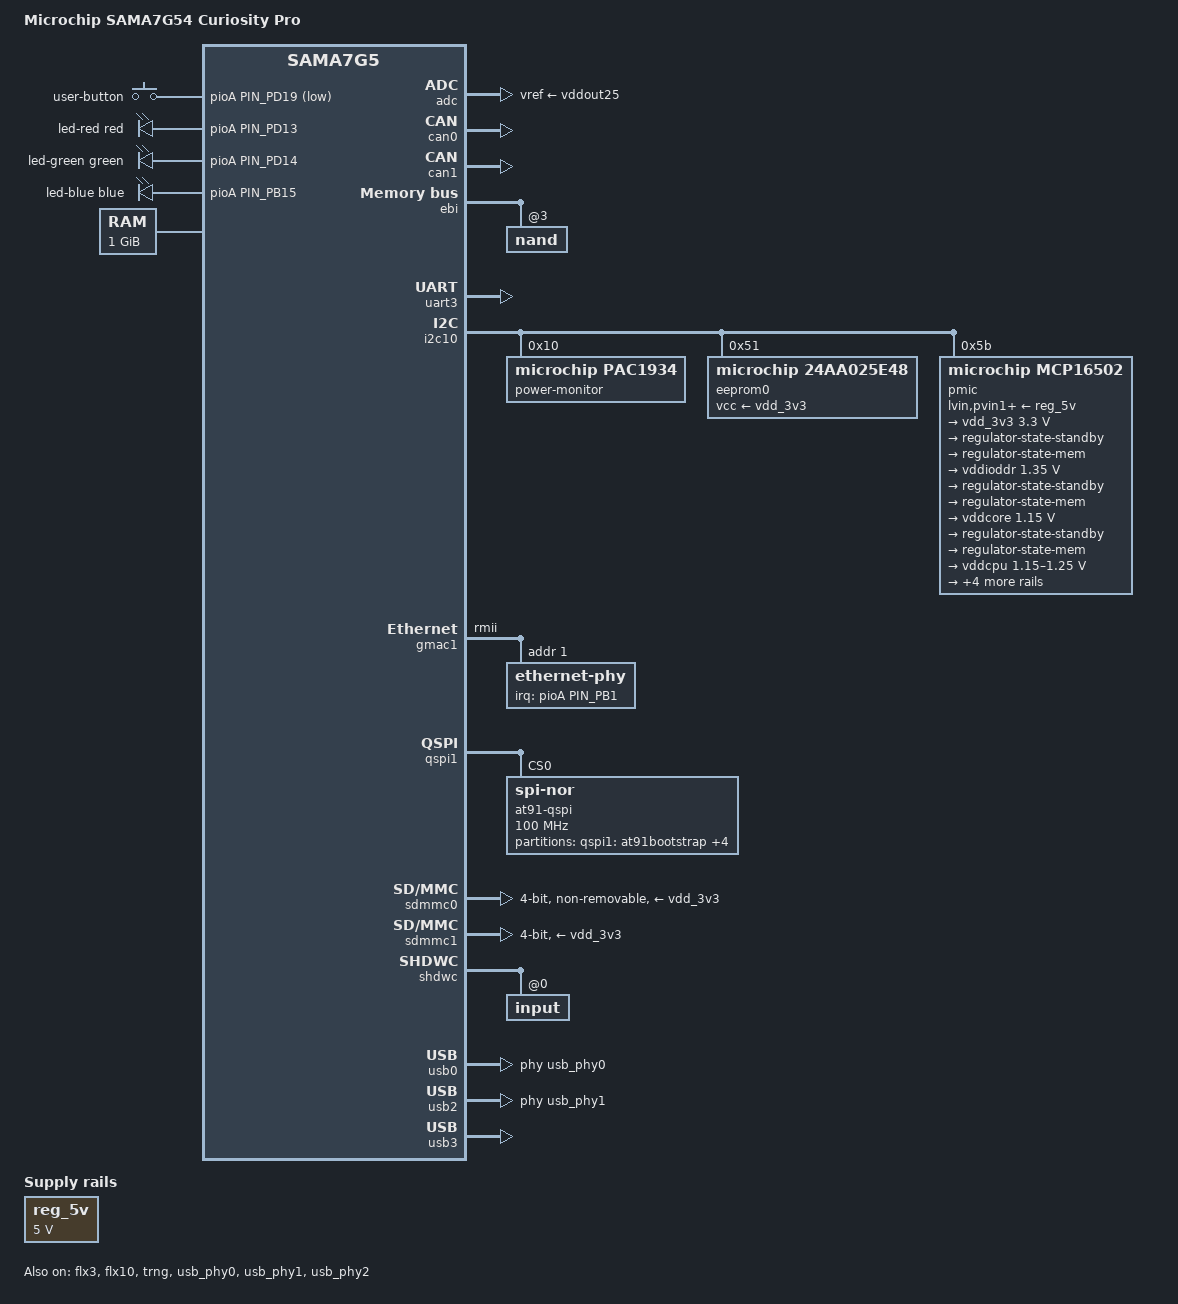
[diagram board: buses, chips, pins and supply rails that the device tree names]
// SPDX-License-Identifier: (GPL-2.0+ OR MIT)
/*
 * at91-sama7g54_curiosity_pro.dts - Device Tree file for Microchip
 * SAMA7G54 Curiosity Pro Board
 *
 * Copyright (C) 2026 Microchip Technology Inc. and its subsidiaries
 *
 * Author: Manikandan Muralidharan <manikandan.m@microchip.com>
 */
/dts-v1/;
#include "sama7g5-pinfunc.h"
#include "sama7g5.dtsi"
#include <dt-bindings/input/input.h>
#include <dt-bindings/leds/common.h>
#include <dt-bindings/mfd/atmel-flexcom.h>
#include <dt-bindings/pinctrl/at91.h>

/ {
	model = "Microchip SAMA7G54 Curiosity Pro";
	compatible = "microchip,sama7g54-curiosity-pro", "microchip,sama7g5", "microchip,sama7";

	aliases {
		serial0 = &uart3;
		i2c0 = &i2c10;
		ethernet0 = &gmac1;
	};

	chosen {
		stdout-path = "serial0:115200n8";
	};

	gpio-keys {
		compatible = "gpio-keys";
		pinctrl-names = "default";
		pinctrl-0 = <&pinctrl_key_gpio_default>;

		button-user {
			label = "user-button";
			gpios = <&pioA PIN_PD19 GPIO_ACTIVE_LOW>;
			linux,code = <KEY_PROG1>;
			wakeup-source;
		};
	};

	leds {
		compatible = "gpio-leds";

		led-red {
			color = <LED_COLOR_ID_RED>;
			function = LED_FUNCTION_POWER;
			gpios = <&pioA PIN_PD13 GPIO_ACTIVE_HIGH>;
			pinctrl-names = "default";
			pinctrl-0 = <&pinctrl_led_red_gpio_default>;
			default-state = "off";
		};

		led-green {
			color = <LED_COLOR_ID_GREEN>;
			function = LED_FUNCTION_BOOT;
			gpios = <&pioA PIN_PD14 GPIO_ACTIVE_HIGH>;
			pinctrl-names = "default";
			pinctrl-0 = <&pinctrl_led_green_gpio_default>;
			default-state = "off";
		};

		led-blue {
			color = <LED_COLOR_ID_BLUE>;
			function = LED_FUNCTION_CPU;
			gpios = <&pioA PIN_PB15 GPIO_ACTIVE_HIGH>;
			pinctrl-names = "default";
			pinctrl-0 = <&pinctrl_led_blue_gpio_default>;
			linux,default-trigger = "heartbeat";
		};
	};

	memory@60000000 {
		device_type = "memory";
		reg = <0x60000000 0x40000000>; /* 1 GiB DDR3L (8 Gb) */
	};

	reg_5v: regulator-5v {
		compatible = "regulator-fixed";
		regulator-name = "5V_MAIN";
		regulator-min-microvolt = <5000000>;
		regulator-max-microvolt = <5000000>;
		regulator-always-on;
	};
};

/* Conflicts with I2S */
&adc {
	vddana-supply = <&vddout25>;
	vref-supply = <&vddout25>;
	pinctrl-names = "default";
	pinctrl-0 = <&pinctrl_mikrobus1_an_default &pinctrl_mikrobus2_an_default>;
	status = "okay";
};

&can0 {
	pinctrl-names = "default";
	pinctrl-0 = <&pinctrl_can0_default>;
	status = "okay";
};

&can1 {
	pinctrl-names = "default";
	pinctrl-0 = <&pinctrl_can1_default>;
	status = "okay";
};

&cpu0 {
	cpu-supply = <&vddcpu>;
};

&dma0 {
	status = "okay";
};

&dma1 {
	status = "okay";
};

&dma2 {
	status = "okay";
};

&ebi {
	pinctrl-names = "default";
	pinctrl-0 = <&pinctrl_nand_default>;
	status = "okay";

	nand_controller: nand-controller {
		status = "okay";

		nand@3 {
			reg = <0x3 0x0 0x800000>;
			atmel,rb = <0>;
			nand-bus-width = <8>;
			nand-ecc-mode = "hw";
			nand-ecc-strength = <8>;
			nand-ecc-step-size = <512>;
			nand-on-flash-bbt;
			label = "nand";
		};
	};
};

&flx3 {
	atmel,flexcom-mode = <ATMEL_FLEXCOM_MODE_USART>;
	status = "okay";
};

/* DBGU(uart3) Conflicts with CAN2 */
&uart3 {
	pinctrl-names = "default";
	pinctrl-0 = <&pinctrl_flx3_default>;
	status = "okay";
};

&flx10 {
	atmel,flexcom-mode = <ATMEL_FLEXCOM_MODE_TWI>;
	status = "okay";
};

&i2c10 {
	pinctrl-names = "default";
	pinctrl-0 = <&pinctrl_flx10_default>;
	i2c-analog-filter;
	i2c-digital-filter;
	i2c-digital-filter-width-ns = <35>;
	status = "okay";

	power-monitor@10 {
		compatible = "microchip,pac1934";
		reg = <0x10>;
		#address-cells = <1>;
		#size-cells = <0>;

		channel@1 {
			reg = <0x1>;
			shunt-resistor-micro-ohms = <47000>;
			label = "VDD3V3";
		};

		channel@2 {
			reg = <0x2>;
			shunt-resistor-micro-ohms = <47000>;
			label = "VDDIODDR";
		};

		channel@3 {
			reg = <0x3>;
			shunt-resistor-micro-ohms = <47000>;
			label = "VDDCORE";
		};

		channel@4 {
			reg = <0x4>;
			shunt-resistor-micro-ohms = <47000>;
			label = "VDDCPU";
		};
	};

	eeprom0: eeprom@51 {
		compatible = "microchip,24aa025e48";
		reg = <0x51>;
		size = <256>;
		pagesize = <16>;
		vcc-supply = <&vdd_3v3>;

		nvmem-layout {
			compatible = "fixed-layout";
			#address-cells = <1>;
			#size-cells = <1>;

			eeprom0_eui48: eui48@fa {
				reg = <0xfa 0x6>;
			};
		};
	};

	pmic@5b {
		compatible = "microchip,mcp16502";
		reg = <0x5b>;
		lvin-supply = <&reg_5v>;
		pvin1-supply = <&reg_5v>;
		pvin2-supply = <&reg_5v>;
		pvin3-supply = <&reg_5v>;
		pvin4-supply = <&reg_5v>;

		regulators {
			vdd_3v3: VDD_IO {
				regulator-name = "VDD_IO";
				regulator-min-microvolt = <3300000>;
				regulator-max-microvolt = <3300000>;
				regulator-initial-mode = <2>;
				regulator-allowed-modes = <2>, <4>;
				regulator-always-on;

				regulator-state-standby {
					regulator-on-in-suspend;
					regulator-suspend-microvolt = <3300000>;
					regulator-mode = <4>;
				};

				regulator-state-mem {
					regulator-off-in-suspend;
					regulator-mode = <4>;
				};
			};

			vddioddr: VDD_DDR {
				regulator-name = "VDD_DDR";
				regulator-min-microvolt = <1350000>;
				regulator-max-microvolt = <1350000>;
				regulator-initial-mode = <2>;
				regulator-allowed-modes = <2>, <4>;
				regulator-always-on;

				regulator-state-standby {
					regulator-on-in-suspend;
					regulator-suspend-microvolt = <1350000>;
					regulator-mode = <4>;
				};

				regulator-state-mem {
					regulator-on-in-suspend;
					regulator-suspend-microvolt = <1350000>;
					regulator-mode = <4>;
				};
			};

			vddcore: VDD_CORE {
				regulator-name = "VDD_CORE";
				regulator-min-microvolt = <1150000>;
				regulator-max-microvolt = <1150000>;
				regulator-initial-mode = <2>;
				regulator-allowed-modes = <2>, <4>;
				regulator-always-on;

				regulator-state-standby {
					regulator-on-in-suspend;
					regulator-suspend-microvolt = <1150000>;
					regulator-mode = <4>;
				};

				regulator-state-mem {
					regulator-off-in-suspend;
					regulator-mode = <4>;
				};
			};

			vddcpu: VDD_OTHER {
				regulator-name = "VDD_OTHER";
				regulator-min-microvolt = <1150000>;
				regulator-max-microvolt = <1250000>;
				regulator-initial-mode = <2>;
				regulator-allowed-modes = <2>, <4>;
				regulator-ramp-delay = <3125>;
				regulator-always-on;

				regulator-state-standby {
					regulator-on-in-suspend;
					regulator-suspend-microvolt = <1050000>;
					regulator-mode = <4>;
				};

				regulator-state-mem {
					regulator-off-in-suspend;
					regulator-mode = <4>;
				};
			};

			vldo1: LDO1 {
				regulator-name = "LDO1";
				regulator-min-microvolt = <1800000>;
				regulator-max-microvolt = <1800000>;
				regulator-always-on;

				regulator-state-standby {
					regulator-suspend-microvolt = <1800000>;
					regulator-on-in-suspend;
				};

				regulator-state-mem {
					regulator-off-in-suspend;
				};
			};

			vldo2: LDO2 {
				regulator-name = "LDO2";
				regulator-min-microvolt = <3300000>;
				regulator-max-microvolt = <3300000>;
				regulator-always-on;

				regulator-state-standby {
					regulator-suspend-microvolt = <3300000>;
					regulator-on-in-suspend;
				};

				regulator-state-mem {
					regulator-off-in-suspend;
				};
			};
		};
	};
};

&gmac1 {
	#address-cells = <1>;
	#size-cells = <0>;
	pinctrl-names = "default";
	pinctrl-0 = <&pinctrl_gmac1_default
		     &pinctrl_gmac1_mdio_default
		     &pinctrl_gmac1_phy_irq>;
	phy-mode = "rmii";
	status = "okay";

	nvmem-cells = <&eeprom0_eui48>;
	nvmem-cell-names = "mac-address";

	ethernet-phy@1 {
		reg = <0x1>;
		interrupt-parent = <&pioA>;
		interrupts = <PIN_PB1 IRQ_TYPE_LEVEL_LOW>;
	};
};

&main_xtal {
	clock-frequency = <24000000>;
};

&pioA {
	pinctrl_can0_default: can0-default {
		pinmux = <PIN_PA9__CANTX0>,
			 <PIN_PA10__CANRX0>;
		bias-disable;
	};

	pinctrl_can1_default: can1-default {
		pinmux = <PIN_PA7__CANTX1>,
			 <PIN_PA8__CANRX1>;
		bias-disable;
	};

	pinctrl_flx3_default: flx3-default {
		pinmux = <PIN_PD16__FLEXCOM3_IO0>,
			 <PIN_PD17__FLEXCOM3_IO1>;
		bias-pull-up;
	};

	pinctrl_flx10_default: flx10-default {
		pinmux = <PIN_PC30__FLEXCOM10_IO0>,
			 <PIN_PC31__FLEXCOM10_IO1>;
		bias-pull-up;
	};

	pinctrl_gmac1_default: gmac1-default {
		pinmux = <PIN_PD30__G1_TXCK>,
			 <PIN_PD22__G1_TX0>,
			 <PIN_PD23__G1_TX1>,
			 <PIN_PD21__G1_TXEN>,
			 <PIN_PD25__G1_RX0>,
			 <PIN_PD26__G1_RX1>,
			 <PIN_PD27__G1_RXER>,
			 <PIN_PD24__G1_RXDV>;
		slew-rate = <0>;
		bias-disable;
	};

	pinctrl_gmac1_mdio_default: gmac1-mdio-default {
		pinmux = <PIN_PD28__G1_MDC>,
			 <PIN_PD29__G1_MDIO>;
		bias-disable;
	};

	pinctrl_gmac1_phy_irq: gmac1-phy-irq {
		pinmux = <PIN_PB1__GPIO>;
		bias-disable;
	};

	pinctrl_key_gpio_default: key-gpio-default {
		pinmux = <PIN_PD19__GPIO>;
		bias-pull-up;
	};

	pinctrl_led_blue_gpio_default: led-blue-gpio-default {
		pinmux = <PIN_PB15__GPIO>;
		bias-pull-up;
	};

	pinctrl_led_green_gpio_default: led-green-gpio-default {
		pinmux = <PIN_PD14__GPIO>;
		bias-pull-up;
	};

	pinctrl_led_red_gpio_default: led-red-gpio-default {
		pinmux = <PIN_PD13__GPIO>;
		bias-pull-up;
	};

	pinctrl_mikrobus1_an_default: mikrobus1-an-default {
		pinmux = <PIN_PC15__GPIO>;
		bias-disable;
	};

	pinctrl_mikrobus2_an_default: mikrobus2-an-default {
		pinmux = <PIN_PC13__GPIO>;
		bias-disable;
	};

	pinctrl_nand_default: nand-default {
		pinmux = <PIN_PD9__D0>,
			 <PIN_PD10__D1>,
			 <PIN_PD11__D2>,
			 <PIN_PC21__D3>,
			 <PIN_PC22__D4>,
			 <PIN_PC23__D5>,
			 <PIN_PC24__D6>,
			 <PIN_PD2__D7>,
			 <PIN_PD3__NANDRDY>,
			 <PIN_PD4__NCS3_NANDCS>,
			 <PIN_PD5__NWE_NWR0_NANDWE>,
			 <PIN_PD6__NRD_NANDOE>,
			 <PIN_PD7__A21_NANDALE>,
			 <PIN_PD8__A22_NANDCLE>;
		bias-disable;
		slew-rate = <0>;
	};

	pinctrl_qspi1_default: qspi1-default {
		pinmux = <PIN_PB22__QSPI1_IO3>,
			 <PIN_PB23__QSPI1_IO2>,
			 <PIN_PB24__QSPI1_IO1>,
			 <PIN_PB25__QSPI1_IO0>,
			 <PIN_PB26__QSPI1_CS>,
			 <PIN_PB27__QSPI1_SCK>;
		bias-pull-up;
		slew-rate = <0>;
	};

	pinctrl_sdmmc0_default: sdmmc0-default {
		pinmux = <PIN_PA0__SDMMC0_CK>,
			 <PIN_PA1__SDMMC0_CMD>,
			 <PIN_PA2__SDMMC0_RSTN>,
			 <PIN_PA3__SDMMC0_DAT0>,
			 <PIN_PA4__SDMMC0_DAT1>,
			 <PIN_PA5__SDMMC0_DAT2>,
			 <PIN_PA6__SDMMC0_DAT3>;
		bias-pull-up;
		slew-rate = <0>;
	};

	pinctrl_sdmmc1_default: sdmmc1-default {
		pinmux = <PIN_PB29__SDMMC1_CMD>,
			 <PIN_PB30__SDMMC1_CK>,
			 <PIN_PB31__SDMMC1_DAT0>,
			 <PIN_PC0__SDMMC1_DAT1>,
			 <PIN_PC1__SDMMC1_DAT2>,
			 <PIN_PC2__SDMMC1_DAT3>,
			 <PIN_PC4__SDMMC1_CD>;
		bias-pull-up;
		slew-rate = <0>;
	};

	pinctrl_usba_vbus_det: usba-vbus-det {
		pinmux = <PIN_PC6__GPIO>;
		bias-disable;
	};

	pinctrl_usbb_vbus_en: usbb-vbus-en {
		pinmux = <PIN_PE1__GPIO>;
		bias-disable;
	};

	pinctrl_usbc_vbus_en: usbc-vbus-en {
		pinmux = <PIN_PE2__GPIO>;
		bias-disable;
	};
};

&qspi1 {
	reg = <0xe0810000 0x400>, <0x30000000 0x1000000>;
	pinctrl-names = "default";
	pinctrl-0 = <&pinctrl_qspi1_default>;
	status = "okay";

	flash@0 {
		compatible = "jedec,spi-nor";
		reg = <0x0>;
		spi-max-frequency = <100000000>;
		spi-tx-bus-width = <4>;
		spi-rx-bus-width = <4>;
		m25p,fast-read;
		label = "at91-qspi";

		partitions {
			compatible = "fixed-partitions";
			#address-cells = <1>;
			#size-cells = <1>;

			at91bootstrap@0 {
				label = "qspi1: at91bootstrap";
				reg = <0x0 0x40000>;
			};

			bootloader@40000 {
				label = "qspi1: u-boot";
				reg = <0x40000 0x100000>;
			};

			bootloaderenv@140000 {
				label = "qspi1: u-boot env";
				reg = <0x140000 0x40000>;
			};

			dtb@180000 {
				label = "qspi1: device tree";
				reg = <0x180000 0x80000>;
			};

			kernel@200000 {
				label = "qspi1: kernel";
				reg = <0x200000 0x600000>;
			};
		};
	};
};

&rtt {
	atmel,rtt-rtc-time-reg = <&gpbr 0x0>;
};

/* M.2 Key-E slot for Wi-Fi card */
&sdmmc0 {
	bus-width = <4>;
	non-removable;
	disable-wp;
	sdhci-caps-mask = <0x0 0x00200000>;
	vmmc-supply = <&vdd_3v3>;
	vqmmc-supply = <&vdd_3v3>;
	pinctrl-names = "default";
	pinctrl-0 = <&pinctrl_sdmmc0_default>;
	status = "okay";
};

/* micro SD socket */
&sdmmc1 {
	bus-width = <4>;
	disable-wp;
	sdhci-caps-mask = <0x0 0x00200000>;
	vmmc-supply = <&vdd_3v3>;
	vqmmc-supply = <&vdd_3v3>;
	pinctrl-names = "default";
	pinctrl-0 = <&pinctrl_sdmmc1_default>;
	status = "okay";
};

&slow_xtal {
	clock-frequency = <32768>;
};

&shdwc {
	debounce-delay-us = <976>;
	status = "okay";

	input@0 {
		reg = <0>;
	};
};

&tcb0 {
	timer0: timer@0 {
		compatible = "atmel,tcb-timer";
		reg = <0>;
	};

	timer1: timer@1 {
		compatible = "atmel,tcb-timer";
		reg = <1>;
	};
};

&trng {
	status = "okay";
};

&usb0 {
	atmel,vbus-gpio = <&pioA PIN_PC6 GPIO_ACTIVE_HIGH>;
	pinctrl-names = "default";
	pinctrl-0 = <&pinctrl_usba_vbus_det>;
	phys = <&usb_phy0>;
	phy-names = "usb";
	status = "okay";
};

&usb2 {
	num-ports = <3>;
	atmel,vbus-gpio = <0
			   &pioA PIN_PE1 GPIO_ACTIVE_HIGH
			   &pioA PIN_PE2 GPIO_ACTIVE_HIGH
			  >;
	pinctrl-names = "default";
	pinctrl-0 = <&pinctrl_usbb_vbus_en &pinctrl_usbc_vbus_en>;
	phys = <&usb_phy1>, <&usb_phy2>;
	phy-names = "usb", "usb";
	status = "okay";
};

&usb3 {
	status = "okay";
};

&usb_phy0 {
	status = "okay";
};

&usb_phy1 {
	status = "okay";
};

&usb_phy2 {
	status = "okay";
};

&vddout25 {
	vin-supply = <&vdd_3v3>;
	status = "okay";
};
